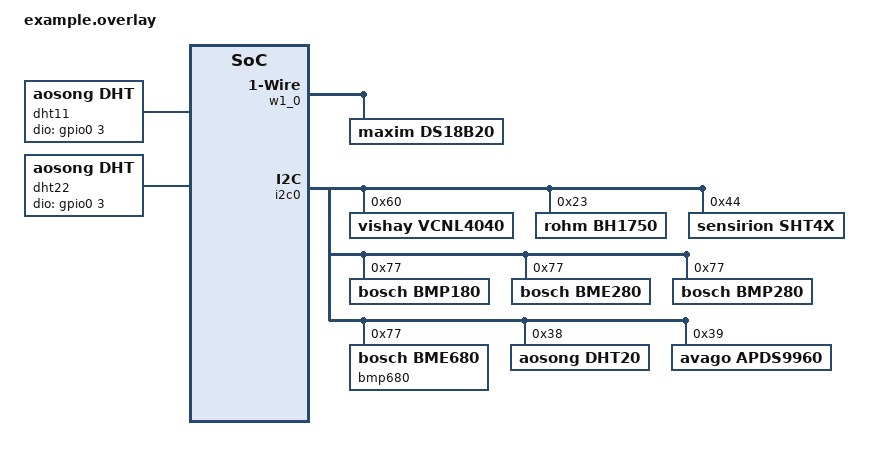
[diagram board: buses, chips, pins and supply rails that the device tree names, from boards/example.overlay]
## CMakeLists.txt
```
cmake_minimum_required(VERSION 3.20)
find_package(Zephyr REQUIRED HINTS $ENV{ZEPHYR_BASE})

project(app LANGUAGES C)

target_sources(app PRIVATE src/http.c src/net.c src/shell.c src/sensor.c
                           src/storage.c src/timer.c)
```

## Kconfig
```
source "Kconfig.zephyr"

menu "Application Options"

module = APP
module-str = App
source "subsys/logging/Kconfig.template.log_config"

config APP_SENSOR_INTERVAL
	int "Environment sensor read interval"
	default 5
	help
	  The interval between subsequent reads from the environment
	  sensor (in minutes).

menu "Network Setup Options"

config APP_INITIAL_SSID
	string "Initial Wi-Fi SSID"
	default "test"
	help
	  The initial Wi-Fi SSID the app will attempt to connect to.

config APP_INITIAL_PASS
	string "Initial Wi-Fi password"
	default "test1234"
	help
	  The initial Wi-Fi password the app will attempt to connect to.

config APP_NETWORK_TIMEOUT
	int "Network timeout"
	default 30
	help
	  Maximum wait time for connecting to Wi-Fi network (in seconds).

config APP_NETWORK_RETRY_DELAY
	int "Retry delay"
	default 1
	help
	  Initial delay between subsequent retries of network operations
	  (in minutes).

config APP_NETWORK_RETRY_DELAY_MAX
	int "Max retry delay"
	default 30
	help
	  Maximum delay between subsequent retries of network operations
	  (in minutes).

config APP_SERVER_IP
	string "Server address"
	default "192.168.2.5"
	help
	  IPv4 address of the sensor server.

config APP_SERVER_PORT
	int "Server port"
	default 8000
	help
	  Network port of the sensor server.

config APP_MAX_JSON_PAYLOAD
	int "Max json message size"
	default 512
	help
	  Maximum size of the http json payload.

endmenu # Network Setup Options

menu "Sensor Thread Options"

config APP_SENSOR_STACK_SIZE
	int "Thread stack size"
	default 1024
	help
	  Sensor thread stack size (in bytes).

config APP_SENSOR_THREAD_PRIORITY
	int "Thread priority"
	default 8
	help
	  Sensor thread priority.

endmenu # Sensor Thread Options

menu "Network Thread Options"

config APP_NET_STACK_SIZE
	int "Thread stack size"
	default 16384
	help
	  Network thread stack size (in bytes).

config APP_NET_THREAD_PRIORITY
	int "Thread priority"
	default 9
	help
	  Network thread priority.

endmenu # Network Thread Options

endmenu # Application Options
```

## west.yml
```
manifest:
  remotes:
    - name: zephyrproject-rtos
      url-base: https://github.com/zephyrproject-rtos

  projects:
    - name: zephyr
      remote: zephyrproject-rtos
      revision: v4.3.0
      import:
        name-allowlist:
          - hal_espressif
          - mbedtls
```

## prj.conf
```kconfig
CONFIG_COMPILER_WARNINGS_AS_ERRORS=y
CONFIG_STD_C23=y
CONFIG_INIT_STACKS=y
# CONFIG_BOOT_BANNER is not set

CONFIG_GPIO=y
CONFIG_W1=y
CONFIG_SERIAL=y
CONFIG_CONSOLE=y
CONFIG_UART_CONSOLE=y

CONFIG_SHELL=y
CONFIG_SHELL_MINIMAL=y
CONFIG_SHELL_PROMPT_UART="$ "

CONFIG_HWINFO=y

CONFIG_LOG=y

CONFIG_ZBUS=y

CONFIG_FLASH=y
CONFIG_FLASH_MAP=y
CONFIG_MPU_ALLOW_FLASH_WRITE=y
CONFIG_NVS=y
CONFIG_NVS_DATA_CRC=y
CONFIG_NVS_LOG_LEVEL_WRN=y

CONFIG_SENSOR=y
CONFIG_SENSOR_ASYNC_API=y

CONFIG_NETWORKING=y
CONFIG_NET_L2_ETHERNET=y
CONFIG_NET_L2_WIFI_MGMT=y
CONFIG_NET_DEFAULT_IF_WIFI=y
CONFIG_NET_HOSTNAME_ENABLE=y
CONFIG_NET_HOSTNAME_UNIQUE=y
CONFIG_NET_RX_STACK_SIZE=2048
CONFIG_NET_TX_STACK_SIZE=2048
CONFIG_NET_PKT_RX_COUNT=10
CONFIG_NET_PKT_TX_COUNT=10
CONFIG_NET_BUF_RX_COUNT=20
CONFIG_NET_BUF_TX_COUNT=20
CONFIG_NET_SOCKETS=y
CONFIG_NET_SOCKETS_OFFLOAD=y
CONFIG_NET_CONNECTION_MANAGER=y

CONFIG_ETH_DRIVER=n

CONFIG_WIFI=y
CONFIG_WIFI_NM=y
CONFIG_WIFI_LOG_LEVEL_WRN=y

CONFIG_NET_IPV4=y
CONFIG_NET_IPV6=n
CONFIG_NET_TCP=y
CONFIG_NET_UDP=y
CONFIG_NET_DHCPV4=y

CONFIG_HTTP_CLIENT=y

CONFIG_JSON_LIBRARY=y

CONFIG_MBEDTLS=y
CONFIG_MBEDTLS_SHA1=y
```

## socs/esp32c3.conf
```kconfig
CONFIG_ESP32_WIFI_STA_AUTO_DHCPV4=y
CONFIG_ESP32_WIFI_IRAM_OPT=y
CONFIG_ESP32_WIFI_RX_IRAM_OPT=y
```

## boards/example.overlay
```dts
// maxim,ds18b20 (w1)
&w1_0 {
	ds18b20: ds18b20 {
		compatible = "maxim,ds18b20";
		family-code = <0x28>;
		resolution = <12>;
		status = "okay";
	};
};

// vishay,vcnl4040 (i2c)
&i2c0 {
	vcnl4040: vcnl4040@60 {
		compatible = "vishay,vcnl4040";
		reg = <0x60>;
		status = "okay";
	};
};

// rohm,bh1750 (i2c)
&i2c0 {
	bh1750: bh1750@23 {
		compatible = "rohm,bh1750";
		reg = <0x23>;
		status = "okay";
	};
};

// sensirion,sht4x (i2c)
&i2c0 {
	sht4x: sht4x@44 {
		compatible = "sensirion,sht4x";
		reg = <0x44>;
		repeatability = <2>;
		status = "okay";
	};
}

// aosong,dht11 (gpio)
/ {
	dht11: dht11 {
		compatible = "aosong,dht";
		// GPIO number is the second value
		dio-gpios = <&gpio0 3 GPIO_PULL_UP>;
		status = "okay";
	};
};

// aosong,dht22 (gpio)
/ {
	dht22: dht22 {
		compatible = "aosong,dht";
		dht22;
		// GPIO number is the second value
		dio-gpios = <&gpio0 3 GPIO_PULL_UP>;
		status = "okay";
	};
};

// bosch,bmp180 (i2c)
&i2c0 {
	bmp180: bmp180@0x77 {
		compatible = "bosch,bmp180";
		osr-press = <1>;
		reg = <0x77>;
		status = "okay";
	};
};

// bosch,bme280 (i2c)
&i2c0 {
	bme280: bme280@0x77 {
		compatible = "bosch,bme280";
		reg = <0x77>;
		status = "okay";
	};
};

// bosch,bmp280 (i2c)
&i2c0 {
	bmp280: bmp280@0x77 {
		compatible = "bosch,bmp280", "bosch,bme280";
		reg = <0x77>;
		status = "okay";
	};
};

// bosch,bme680 (i2c)
&i2c0 {
	bmp680: bme680@0x77 {
		compatible = "bosch,bme680";
		reg = <0x77>;
		status = "okay";
	};
};

// aosong,dht20 (i2c)
&i2c0 {
	dht20: dht20@0x38 {
		compatible = "aosong,dht20";
		reg = <0x38>;
		status = "okay";
	};
};

// avago,apds9960 (i2c)
&i2c0 {
	apds9960: apds9960@39 {
		compatible = "avago,apds9960";
		reg = <0x39>;
		status = "okay";
	};
};
```

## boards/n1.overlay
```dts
/ {
	zephyr,user {
		env-sensors = <&ds18b20>;
	};
};

&w1_0 {
	ds18b20: ds18b20 {
		compatible = "maxim,ds18b20";
		family-code = <0x28>;
		resolution = <12>;
		status = "okay";
	};
};
```

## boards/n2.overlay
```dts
#include <zephyr/dt-bindings/gpio/gpio.h>

/ {
	zephyr,user {
		env-sensors = <&bh1750 &sht4x>;
	};

	sensor_enable: gpio-switch-d10 {
		compatible = "regulator-fixed";

		regulator-name = "sensor_enable";
		regulator-min-microvolt = <3300000>;
		regulator-max-microvolt = <3300000>;

		enable-gpios = <&gpio0 10 GPIO_ACTIVE_HIGH>;
		status = "okay";
	};
};

&i2c0 {
	status = "okay";

	bh1750: bh1750@23 {
		compatible = "rohm,bh1750";
		reg = <0x23>;
		vin-supply = <&sensor_enable>;
		status = "okay";
	};

	sht4x: sht4x@44 {
		compatible = "sensirion,sht4x";
		reg = <0x44>;
		repeatability = <2>;
		vin-supply = <&sensor_enable>;
		status = "okay";
	};
};
```

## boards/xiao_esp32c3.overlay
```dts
#include <zephyr/dt-bindings/gpio/gpio.h>

/ {
	w1_0: w1_gpio4 {
		compatible = "zephyr,w1-gpio";
		gpios = <&gpio0 4 (GPIO_ACTIVE_HIGH | GPIO_OPEN_DRAIN | GPIO_PULL_UP)>;
		status = "okay";
	};

	w1_1: w1_gpio5 {
		compatible = "zephyr,w1-gpio";
		gpios = <&gpio0 5 (GPIO_ACTIVE_HIGH | GPIO_OPEN_DRAIN | GPIO_PULL_UP)>;
		status = "okay";
	};
};

&flash0 {
	status = "okay";
};

&wifi {
	status = "okay";
};

&i2c0 {
	status = "okay";
};

&spi2 {
	status = "okay";
};

&twai {
	status = "disabled";
};

&uart0 {
	status = "disabled";
};

&esp32_bt_hci {
	status = "disabled";
};
```

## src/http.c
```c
#include "sensor_map.h"
#include "timer.h"
#include "net.h"
#include "zbus.h"

#include <stddef.h>
#include <stdio.h>
#include <stdint.h>
#include <string.h>

#include <zephyr/init.h>
#include <zephyr/zbus/zbus.h>
#include <zephyr/toolchain.h>
#include <zephyr/kernel.h>
#include <zephyr/net/http/client.h>
#include <zephyr/net/http/method.h>
#include <zephyr/net/http/status.h>
#include <zephyr/sys/clock.h>
#include <zephyr/logging/log.h>
#include <zephyr/devicetree.h>
#include <zephyr/drivers/hwinfo.h>
#include <zephyr/data/json.h>
#include <zephyr/sys/util.h>
#include <zephyr/sys/util_macro.h>

#include <mbedtls/sha1.h>
#include <sys/errno.h>

LOG_MODULE_REGISTER(http, CONFIG_APP_LOG_LEVEL);

#define NET_ID_INIT_PRIORITY 99

#define NET_TIMEOUT_SEC (CONFIG_APP_NETWORK_TIMEOUT * MSEC_PER_SEC)

#define APP_HTTP_AUTHORIZE_URL    "/devices/register"
#define APP_HTTP_POST_READING_URL "/devices/send_data"
#define APP_HTTP_PROTOCOL         "HTTP/1.1"
#define APP_HTTP_DEV_ID_HEADER    "X-SENSOR-ID"

#define ZEPHYR_USER_NODE DT_PATH(zephyr_user)
#define SENSOR_COUNT     DT_PROP_LEN(ZEPHYR_USER_NODE, env_sensors)

#define DT_NODE_FULL_NAME_BY_IDX(node_id, prop, idx)                                               \
	DT_NODE_FULL_NAME(DT_PHANDLE_BY_IDX(node_id, prop, idx))

#define SHA1_BYTES 20
#define SHA1_HEX   (SHA1_BYTES * 2)

static char net_id[SHA1_HEX + 1] = {0};
static char net_id_header[SHA1_HEX + sizeof(APP_HTTP_DEV_ID_HEADER) + 4] = {0};

static uint8_t recv_buf[128];
static char json_buf[CONFIG_APP_MAX_JSON_PAYLOAD] = {0};

static K_SEM_DEFINE(http_done, 0, 1);

static bool authorized = false;

const static char *sensors[] = {
	DT_FOREACH_PROP_ELEM_SEP(ZEPHYR_USER_NODE, env_sensors, DT_NODE_FULL_NAME_BY_IDX, (,)) };

static struct json_obj_descr sensor_reading_descr[] = {
	JSON_OBJ_DESCR_PRIM(struct sensor_reading, sensor, JSON_TOK_STRING),
	JSON_OBJ_DESCR_PRIM(struct sensor_reading, type, JSON_TOK_STRING),
	JSON_OBJ_DESCR_PRIM(struct sensor_reading, value, JSON_TOK_NUMBER),
	JSON_OBJ_DESCR_PRIM(struct sensor_reading, shift, JSON_TOK_NUMBER),
};

static struct json_obj_descr sensor_reading_arr[] = {
	JSON_OBJ_DESCR_OBJ_ARRAY(struct device_sensor_msg, readings, SENSOR_READINGS_MAX, count,
				 sensor_reading_descr, ARRAY_SIZE(sensor_reading_descr)),
};

static int net_id_init()
{
	int rc;
	uint8_t dev_id[16];
	uint8_t sha1_bytes[SHA1_BYTES];
	mbedtls_sha1_context sha1_ctx;

	rc = hwinfo_get_device_id(dev_id, sizeof(dev_id));
	if (rc < 0) {
		LOG_ERR("failed to get device id (err %d)", rc);
		return rc;
	}

	mbedtls_sha1_init(&sha1_ctx);

	rc = mbedtls_sha1_starts(&sha1_ctx);
	if (rc) {
		LOG_ERR("failed to start network id calculation (err %d)", rc);
		return rc;
	}

	rc = mbedtls_sha1_update(&sha1_ctx, dev_id, sizeof(dev_id));
	if (rc) {
		LOG_ERR("failed to add device id to network id (err %d)", rc);
		return rc;
	}

	ARRAY_FOR_EACH(sensors, idx) {
		rc = mbedtls_sha1_update(&sha1_ctx, sensors[idx], strlen(sensors[idx]));
		if (rc) {
			LOG_ERR("failed to add sensor '%s' to network id (err %d)", sensors[idx],
				rc);
			return rc;
		}
	}

	rc = mbedtls_sha1_finish(&sha1_ctx, sha1_bytes);
	if (rc) {
		LOG_ERR("failed to calculate network id (err %d)", rc);
		return rc;
	}

	mbedtls_sha1_free(&sha1_ctx);

	if (bin2hex(sha1_bytes, sizeof(sha1_bytes), net_id, sizeof(net_id)) != SHA1_HEX) {
		LOG_ERR("failed to set network id");
		return -ENOSPC;
	}

	snprintf(net_id_header, sizeof(net_id_header), "%s: %s\r\n", APP_HTTP_DEV_ID_HEADER,
		 net_id);

	LOG_INF("device id: %s", net_id);

	return 0;
}

SYS_INIT(net_id_init, POST_KERNEL, NET_ID_INIT_PRIORITY);

ZBUS_SUBSCRIBER_DEFINE(http_subscriber, 1);
ZBUS_CHAN_ADD_OBS(environment_chan, http_subscriber, 0);

static int authorize_response_cb(struct http_response *rsp, enum http_final_call final_data,
				 void *user_data)
{
	if (final_data != HTTP_DATA_FINAL) {
		return 0;
	}

	switch (rsp->http_status_code) {
	case HTTP_200_OK:
		authorized = true;
		sensor_timer_start();
		LOG_INF("device authorized");
		break;
	case HTTP_401_UNAUTHORIZED:
		sensor_timer_stop();
		LOG_INF("device not authorized");
		break;
	default:
		LOG_WRN("unexpected response status %d", rsp->http_status_code);
		break;
	}

	k_sem_give(&http_done);
	return 0;
}

static int authorize_device()
{
	int rc;
	int sock;
	bool success;
	int delay = CONFIG_APP_NETWORK_RETRY_DELAY;

	const static char *headers[] = {"Transfer-Encoding: chunked\r\n", NULL};

	struct http_request req = {
		.method = HTTP_POST,
		.url = APP_HTTP_AUTHORIZE_URL,
		.protocol = APP_HTTP_PROTOCOL,
		.header_fields = headers,
		.content_type_value = "text/plain",
		.payload = net_id,
		.payload_len = strlen(net_id),
		.recv_buf = recv_buf,
		.recv_buf_len = sizeof(recv_buf),
		.response = authorize_response_cb,
	};

	for (;;) {
		sock = server_connect();
		if (sock < 0) {
			goto _err_delay;
		}

		rc = http_client_req(sock, &req, NET_TIMEOUT_SEC, &success);
		if (rc < 0) {
			LOG_ERR("authorize request failed (err %d)", rc);
			goto _err_delay;
		}

		k_sem_take(&http_done, K_FOREVER);
		server_disconnect(sock);

		if (authorized) {
			return 0;
		}

_err_delay:
		LOG_WRN("next attempt in %d minute(s)", delay);
		server_disconnect(sock);
		k_sleep(K_MINUTES(delay));

		delay = MIN(2 * delay, CONFIG_APP_NETWORK_RETRY_DELAY_MAX);
	}
}

static int publish_response_cb(struct http_response *rsp, enum http_final_call final_data,
			       void *user_data)
{
	if (final_data != HTTP_DATA_FINAL) {
		return 0;
	}

	switch (rsp->http_status_code) {
	case HTTP_200_OK:
		LOG_INF("data published");
		break;
	case HTTP_401_UNAUTHORIZED:
		sensor_timer_stop();
		authorized = false;
		LOG_INF("device unauthorized");
		break;
	default:
		LOG_WRN("unexpected response status %d", rsp->http_status_code);
		break;
	}

	k_sem_give(&http_done);
	return 0;
}

static int sensor_server_push()
{
	int rc;
	int sock;
	bool success;

	const static char *headers[] = {"Transfer-Encoding: chunked\r\n", net_id_header, NULL};

	struct http_request req = {
		.method = HTTP_POST,
		.url = APP_HTTP_POST_READING_URL,
		.protocol = APP_HTTP_PROTOCOL,
		.header_fields = headers,
		.content_type_value = "application/json",
		.payload = json_buf,
		.payload_len = strlen(json_buf),
		.recv_buf = recv_buf,
		.recv_buf_len = sizeof(recv_buf),
		.response = publish_response_cb,
	};

	sock = server_connect();
	if (sock < 0) {
		return sock;
	}

	rc = http_client_req(sock, &req, NET_TIMEOUT_SEC, &success);
	if (rc < 0) {
		LOG_ERR("publish request failed (err %d)", rc);
		goto _err_disc;
	}

	k_sem_take(&http_done, K_FOREVER);

_err_disc:
	server_disconnect(sock);
	return rc;
}

static int sensor_publish()
{
	const struct zbus_channel *chan;
	struct device_sensor_msg msg;
	int rc;

	rc = zbus_sub_wait(&http_subscriber, &chan, K_FOREVER);
	if (rc) {
		LOG_ERR("waiting for channel notification failed (err %d)", rc);
		return rc;
	}

	rc = zbus_chan_read(chan, &msg, K_NO_WAIT);
	if (rc) {
		LOG_ERR("failed to read channel message (err %d)", rc);
		return rc;
	}

	rc = k_sem_take(msg.sem, K_SECONDS(1));
	if (rc) {
		LOG_ERR("failed to lock sensor buffer (err %d)", rc);
		return rc;
	}

	rc = json_arr_encode_buf(sensor_reading_arr, &msg, json_buf, ARRAY_SIZE(json_buf));

	k_sem_give(msg.sem);

	if (rc) {
		LOG_ERR("failed to encode json message (err %d)", rc);
		return rc;
	}

	rc = sensor_server_push();

	return rc;
}

static void http_thrd(void *a1, void *a2, void *a3)
{
	LOG_INF("network thread ready");

	for (;;) {
		if (!authorized) {
			authorize_device();
			k_sleep(K_SECONDS(1));
		}
		sensor_publish();
		k_sleep(K_SECONDS(1));
	}
}

K_THREAD_DEFINE(http_thrd_id, CONFIG_APP_NET_STACK_SIZE, http_thrd, NULL, NULL, NULL,
		CONFIG_APP_NET_THREAD_PRIORITY, 0, 1500);
```

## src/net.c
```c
#include "net.h"
#include "storage.h"
#include "zephyr/net/net_event.h"

#include <errno.h>
#include <stdint.h>
#include <stddef.h>

#include <zephyr/kernel.h>
#include <zephyr/logging/log.h>
#include <zephyr/net/conn_mgr_connectivity.h>
#include <zephyr/net/conn_mgr_monitor.h>
#include <zephyr/net/net_if.h>
#include <zephyr/net/net_ip.h>
#include <zephyr/net/net_mgmt.h>
#include <zephyr/net/socket.h>
#include <zephyr/net/wifi.h>
#include <zephyr/net/wifi_mgmt.h>
#include <zephyr/sys/clock.h>
#include <zephyr/toolchain.h>

LOG_MODULE_REGISTER(net, CONFIG_APP_LOG_LEVEL);

static K_SEM_DEFINE(network_connected, 0, 1);

static void l4_event_handler(uint64_t mgmt_event, struct net_if *iface, void *info,
			     size_t info_length, void *user_data)
{
	ARG_UNUSED(iface);
	ARG_UNUSED(info_length);
	ARG_UNUSED(user_data);

	switch (mgmt_event) {
	case NET_EVENT_L4_CONNECTED:
		LOG_INF("network connected");
		k_sem_give(&network_connected);
		break;
	case NET_EVENT_L4_DISCONNECTED:
		LOG_INF("network disconnected");
		k_sem_take(&network_connected, K_NO_WAIT);
		break;
	}
}

static NET_MGMT_REGISTER_EVENT_HANDLER(net_connection_mgmt_handler,
				       NET_EVENT_L4_CONNECTED | NET_EVENT_L4_DISCONNECTED,
				       l4_event_handler, NULL);

static void net_disconnect()
{
	struct net_if *iface = net_if_get_default();

	net_mgmt(NET_REQUEST_WIFI_DISCONNECT, iface, NULL, 0);
}

static int net_connect()
{
	int rc;
	char ssid[STORAGE_MAX_SSID_SIZE] = {0};
	char pass[STORAGE_MAX_PASS_SIZE] = {0};
	struct wifi_connect_req_params params = {0};
	struct net_if *iface = net_if_get_default();

	rc = storage_ssid_get(ssid, STORAGE_MAX_SSID_SIZE - 1);
	if (rc < 0) {
		LOG_ERR("failed to load wifi SSID (err %d)", rc);
		return rc;
	}

	rc = storage_pass_get(pass, STORAGE_MAX_PASS_SIZE - 1);
	if (rc < 0) {
		LOG_ERR("failed to load wifi password (err %d)", rc);
		return rc;
	}

	params.ssid = ssid;
	params.ssid_length = strlen(params.ssid);
	params.psk = pass;
	params.psk_length = strlen(params.psk);
	params.channel = WIFI_CHANNEL_ANY;
	params.security = WIFI_SECURITY_TYPE_PSK;
	params.band = WIFI_FREQ_BAND_2_4_GHZ;
	params.mfp = WIFI_MFP_OPTIONAL;

	LOG_DBG("Connecting to network %s", ssid);

	rc = net_mgmt(NET_REQUEST_WIFI_CONNECT, iface, &params,
		      sizeof(struct wifi_connect_req_params));
	if (rc) {
		LOG_ERR("failed to request network connection (err %d)", rc);
		return rc;
	}

	rc = k_sem_take(&network_connected, K_SECONDS(CONFIG_APP_NETWORK_TIMEOUT));
	if (rc) {
		LOG_ERR("Failed to connect to network (err %d)", rc);
		net_disconnect();
	}

	return rc;
}

int server_connect()
{
	int rc;
	int sock;
	struct sockaddr_in sa;

	rc = net_connect();
	if (rc) {
		goto _err_net_disconnect;
	}
	k_sleep(K_SECONDS(1));

	sa = (struct sockaddr_in){
		.sin_family = AF_INET,
		.sin_port = htons(CONFIG_APP_SERVER_PORT),
	};

	rc = zsock_inet_pton(AF_INET, CONFIG_APP_SERVER_IP, &sa.sin_addr);
	if (rc < 0) {
		LOG_ERR("invalid ip address format: '%s'", CONFIG_APP_SERVER_IP);
	}

	rc = zsock_socket(AF_INET, SOCK_STREAM, IPPROTO_TCP);
	if (rc < 0) {
		LOG_ERR("failed to create socket (err %d)", rc);
		goto _err_net_disconnect;
	}
	sock = rc;

	rc = zsock_connect(sock, (struct sockaddr *)&sa, sizeof(sa));
	if (rc == 0) {
		LOG_DBG("server connected");
		return sock;
	}

	zsock_close(sock);

	LOG_ERR("server connection failed (err %d)", -errno);
_err_net_disconnect:
	net_disconnect();
	return rc;
}

void server_disconnect(int sock)
{
	zsock_close(sock);
	LOG_DBG("server disconnected");

	net_disconnect();
}
```

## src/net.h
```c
#ifndef _NET_H
#define _NET_H

int server_connect();
void server_disconnect(int sock);

#endif // _NET_H
```

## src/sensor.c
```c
#include "zbus.h"
#include "sensor_map.h"

#include <stdint.h>

#include <zephyr/device.h>
#include <zephyr/kernel.h>
#include <zephyr/devicetree.h>
#include <zephyr/drivers/sensor.h>
#include <zephyr/drivers/sensor_data_types.h>
#include <zephyr/logging/log.h>
#include <zephyr/rtio/rtio.h>
#include <zephyr/sys/util.h>
#include <zephyr/sys/util_macro.h>
#include <zephyr/zbus/zbus.h>

LOG_MODULE_REGISTER(sensor, CONFIG_APP_LOG_LEVEL);

#define ZEPHYR_USER_NODE DT_PATH(zephyr_user)
#define SENSOR_COUNT     DT_PROP_LEN(ZEPHYR_USER_NODE, env_sensors)

#define SENSOR_IODEV_SYM(idx)      CONCAT(_sens_iodev_, idx)
#define SENSOR_IODEV_PTR(idx, ...) &SENSOR_IODEV_SYM(idx)

/* clang-format off */
#define SENSOR_IODEV_DEFINE(node_id, prop, idx)		\
		SENSOR_DT_READ_IODEV(						\
			SENSOR_IODEV_SYM(idx),					\
			DT_PHANDLE_BY_IDX(node_id, prop, idx),	\
			SENSOR_CHAN_MAP(						\
				DT_PHANDLE_BY_IDX(node_id, prop, idx)))
/* clang-format on */

DT_FOREACH_PROP_ELEM_SEP(ZEPHYR_USER_NODE, env_sensors, SENSOR_IODEV_DEFINE, (;));

RTIO_DEFINE_WITH_MEMPOOL(sensor_ctx, SENSOR_COUNT, SENSOR_COUNT, SENSOR_COUNT, 64, sizeof(void *));

static struct rtio_iodev *iodevs[SENSOR_COUNT] = {LISTIFY(SENSOR_COUNT, SENSOR_IODEV_PTR, (,))};

K_SEM_DEFINE(reading_sem, 1, 1);

static struct device_sensor_msg zbus_msg = {
	.readings = {},
	.count = 0,
	.sem = &reading_sem,
};

ZBUS_SUBSCRIBER_DEFINE(env_subscriber, 1);
ZBUS_CHAN_ADD_OBS(timer_chan, env_subscriber, 0);

/* clang-format off */
ZBUS_CHAN_DEFINE(environment_chan,	/* Name */
	 struct device_sensor_msg,		/* Message */
	 NULL,							/* Validator */
	 NULL,					 		/* User data */
	 ZBUS_OBSERVERS_EMPTY,	 		/* Observers */
	 ZBUS_MSG_INIT(0)		 		/* Initial value */
);
/* clang-format on */

static const char *chan_type_str(int16_t chan)
{
	switch (chan) {
	case SENSOR_CHAN_DIE_TEMP:
	case SENSOR_CHAN_AMBIENT_TEMP:
		return "temp";
	case SENSOR_CHAN_PRESS:
		return "press";
	case SENSOR_CHAN_PROX:
		return "prox";
	case SENSOR_CHAN_HUMIDITY:
		return "humid";
	case SENSOR_CHAN_LIGHT:
	case SENSOR_CHAN_AMBIENT_LIGHT:
		return "light";
	case SENSOR_CHAN_IR:
		return "ir";
	case SENSOR_CHAN_RED:
		return "red";
	case SENSOR_CHAN_GREEN:
		return "green";
	case SENSOR_CHAN_BLUE:
		return "blue";
	case SENSOR_CHAN_ALTITUDE:
		return "alt";
	case SENSOR_CHAN_PM_1_0:
		return "pm1.0";
	case SENSOR_CHAN_PM_2_5:
		return "pm2.5";
	case SENSOR_CHAN_PM_10:
		return "pm10";
	case SENSOR_CHAN_DISTANCE:
		return "dist";
	case SENSOR_CHAN_CO2:
		return "co2";
	case SENSOR_CHAN_O2:
		return "o2";
	case SENSOR_CHAN_GAS_RES:
		return "gas_res";
	case SENSOR_CHAN_VOC:
		return "voc";
	case SENSOR_CHAN_VOLTAGE:
		return "volt";
	default:
		return "unknown";
	}
}

static void sensor_init()
{
	const struct device *dev;
	ARRAY_FOR_EACH(iodevs, idx) {
		dev = ((struct sensor_read_config *)(iodevs[idx]->data))->sensor;

		if (!device_is_ready(dev)) {
			LOG_ERR("%s: device not ready", dev->name);
			continue;
		}
	}

	LOG_INF("sensor thread ready");
}

static void sensor_loop()
{
	const struct sensor_decoder_api *decoder;
	const struct zbus_channel *chan;
	const char *chan_type;
	struct sensor_q31_data data;
	struct sensor_read_config *cfg;
	struct rtio_cqe *cqe;
	uint8_t *buf;
	uint32_t buf_len;
	uint32_t fit;
	int rc;

	for (;;) {
		rc = zbus_sub_wait(&env_subscriber, &chan, K_FOREVER);
		if (rc) {
			LOG_WRN("waiting for channel notification failed (err %d)", rc);
			continue;
		}

		ARRAY_FOR_EACH(iodevs, idx) {
			cfg = (struct sensor_read_config *)(iodevs[idx]->data);

			rc = sensor_read_async_mempool(iodevs[idx], &sensor_ctx, iodevs[idx]);
			if (rc) {
				LOG_WRN("%s: failed to init sensor read (err %d)",
					cfg->sensor->name, rc);
				continue;
			}
		}

		rc = k_sem_take(&reading_sem, K_FOREVER);
		if (rc) {
			LOG_ERR("failed to lock readings message (err %d)", rc);
			return;
		}

		zbus_msg.count = 0;
		ARRAY_FOR_EACH(iodevs, _) {
			cqe = rtio_cqe_consume_block(&sensor_ctx);
			if (cqe->result) {
				LOG_WRN("%s: async read failed (err %d)", cfg->sensor->name,
					cqe->result);
				rtio_cqe_release(&sensor_ctx, cqe);
				continue;
			}

			cfg = (struct sensor_read_config *)((struct rtio_iodev *)cqe->userdata)
				      ->data;
			rtio_cqe_release(&sensor_ctx, cqe);

			rc = rtio_cqe_get_mempool_buffer(&sensor_ctx, cqe, &buf, &buf_len);
			if (rc) {
				LOG_WRN("%s: failed to get memory buffer (err %d)",
					cfg->sensor->name, rc);
				continue;
			}

			rc = sensor_get_decoder(cfg->sensor, &decoder);
			if (rc) {
				LOG_WRN("%s: failed to get decoder (err %d)", cfg->sensor->name,
					rc);
				continue;
			}

			for (size_t i = 0; i < cfg->count; ++i) {
				fit = 0;
				decoder->decode(buf, cfg->channels[i], &fit, 1, &data);
				chan_type = chan_type_str(cfg->channels[i].chan_type);

				LOG_DBG("%s: %s = %s%d.%02d", cfg->sensor->name, chan_type,
					PRIq_arg(data.readings[0].value, 2, data.shift));

				zbus_msg.readings[zbus_msg.count++] = (struct sensor_reading){
					.sensor = cfg->sensor->name,
					.type = chan_type,
					.value = data.readings[0].value,
					.shift = data.shift,
				};
			}

			rtio_release_buffer(&sensor_ctx, buf, buf_len);
		}

		rc = zbus_chan_pub(&environment_chan, &zbus_msg, K_FOREVER);
		if (rc) {
			LOG_WRN("failed to publish environment data (err %d)", rc);
		}

		k_sem_give(&reading_sem);
	}
}

static void sensor_thrd(void *a1, void *a2, void *a3)
{
	sensor_init();
	sensor_loop();
}

K_THREAD_DEFINE(sensor_thrd_id, CONFIG_APP_SENSOR_STACK_SIZE, sensor_thrd, NULL, NULL, NULL,
		CONFIG_APP_SENSOR_THREAD_PRIORITY, 0, 1000);
```

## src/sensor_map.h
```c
#ifndef _SENSOR_MAP_H
#define _SENSOR_MAP_H

#include <zephyr/devicetree.h>
#include <zephyr/drivers/sensor.h>
#include <zephyr/sys/util.h>
#include <zephyr/sys/util_macro.h>

#define ZEPHYR_USER_NODE DT_PATH(zephyr_user)

#define SENSOR_CHAN_BY_COMPAT(phandle, compat, ...)                                                \
	COND_CODE_1(DT_NODE_HAS_COMPAT(phandle, compat), (__VA_ARGS__), ())

#define SENSOR_CHAN_MAP(phandle)                                                                   \
	SENSOR_CHAN_BY_COMPAT(phandle, rohm_bh1750, {SENSOR_CHAN_LIGHT, 0})                        \
	SENSOR_CHAN_BY_COMPAT(phandle, sensirion_sht4x, {SENSOR_CHAN_AMBIENT_TEMP, 0},             \
			      {SENSOR_CHAN_HUMIDITY, 0})                                           \
	SENSOR_CHAN_BY_COMPAT(phandle, maxim_ds18b20, {SENSOR_CHAN_AMBIENT_TEMP, 0})               \
	SENSOR_CHAN_BY_COMPAT(phandle, aosong_dht, {SENSOR_CHAN_AMBIENT_TEMP, 0},                  \
			      {SENSOR_CHAN_HUMIDITY, 0})                                           \
	SENSOR_CHAN_BY_COMPAT(phandle, aosong_dht20, {SENSOR_CHAN_AMBIENT_TEMP, 0},                \
			      {SENSOR_CHAN_HUMIDITY, 0})                                           \
	SENSOR_CHAN_BY_COMPAT(phandle, bosch_bmp180, {SENSOR_CHAN_PRESS, 0},                       \
			      {SENSOR_CHAN_DIE_TEMP, 0})                                           \
	SENSOR_CHAN_BY_COMPAT(phandle, bosch_bme280, {SENSOR_CHAN_AMBIENT_TEMP, 0},                \
			      {SENSOR_CHAN_PRESS, 0}, {SENSOR_CHAN_HUMIDITY, 0})                   \
	SENSOR_CHAN_BY_COMPAT(phandle, bosch_bmp280, {SENSOR_CHAN_AMBIENT_TEMP, 0},                \
			      {SENSOR_CHAN_PRESS, 0})                                              \
	SENSOR_CHAN_BY_COMPAT(phandle, bosch_bme680, {SENSOR_CHAN_AMBIENT_TEMP, 0},                \
			      {SENSOR_CHAN_PRESS, 0}, {SENSOR_CHAN_HUMIDITY, 0})                   \
	SENSOR_CHAN_BY_COMPAT(phandle, avago_apds9960, {SENSOR_CHAN_LIGHT, 0},                     \
			      {SENSOR_CHAN_RED, 0}, {SENSOR_CHAN_GREEN, 0},                        \
			      {SENSOR_CHAN_GAS_BLUE, 0}, {SENSOR_CHAN_PROX, 0})                    \
	SENSOR_CHAN_BY_COMPAT(phandle, vishay_vcnl4040, {SENSOR_CHAN_PROX, 0},                     \
			      {SENSOR_CHAN_LIGHT, 0})

#define SENSOR_CHAN_COUNT(node_id, prop, idx)                                                      \
	ARRAY_SIZE(((struct sensor_chan_spec[]){                                                   \
		SENSOR_CHAN_MAP(DT_PHANDLE_BY_IDX(node_id, prop, idx))}))

#define SENSOR_READINGS_MAX                                                                        \
	DT_FOREACH_PROP_ELEM_SEP(ZEPHYR_USER_NODE, env_sensors, SENSOR_CHAN_COUNT, (+))

#endif // _SENSOR_MAP_H
```

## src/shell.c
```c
#include "storage.h"

#include <stddef.h>
#include <string.h>

#include <zephyr/shell/shell.h>
#include <zephyr/sys/printk.h>

static int cmd_set_ssid(const struct shell *shell, size_t argc, char *argv[])
{
	const char *arg_ssid;
	int rc;

	if (argc != 2) {
		shell_error(shell, "Usage: set_ssid <ssid>");
		return -EINVAL;
	}
	arg_ssid = argv[1];

	rc = storage_ssid_set(arg_ssid, strlen(arg_ssid));
	if (rc < 0) {
		shell_error(shell, "bad ssid (err %d)", rc);
		return rc;
	}

	shell_print(shell, "ssid updated");
	return 0;
}

static int cmd_set_pass(const struct shell *shell, size_t argc, char *argv[])
{
	const char *arg_pass;
	int rc;

	if (argc != 2) {
		shell_error(shell, "Usage: set_pass <ssid>");
		return -EINVAL;
	}
	arg_pass = argv[1];

	rc = storage_pass_set(arg_pass, strlen(arg_pass));
	if (rc < 0) {
		shell_error(shell, "bad password (err %d)", rc);
		return rc;
	}

	shell_print(shell, "password updated");
	return 0;
}

SHELL_CMD_ARG_REGISTER(set_ssid, NULL, "Set WiFi SSID", cmd_set_ssid, 2, 0);
SHELL_CMD_ARG_REGISTER(set_pass, NULL, "Set WiFi password", cmd_set_pass, 2, 0);
```

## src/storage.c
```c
#include "storage.h"

#include <string.h>

#include <sys/errno.h>
#include <zephyr/drivers/flash.h>
#include <zephyr/fs/nvs.h>
#include <zephyr/init.h>
#include <zephyr/kernel.h>
#include <zephyr/logging/log.h>
#include <zephyr/storage/flash_map.h>
#include <zephyr/sys/clock.h>
#include <zephyr/toolchain.h>

LOG_MODULE_REGISTER(storage);

#define STORAGE_INIT_PRIORITY 99

#define STORAGE_PARTITION        storage_partition
#define STORAGE_PARTITION_DEVICE FIXED_PARTITION_DEVICE(STORAGE_PARTITION)
#define STORAGE_PARTITION_OFFSET FIXED_PARTITION_OFFSET(STORAGE_PARTITION)

BUILD_ASSERT(sizeof(CONFIG_APP_INITIAL_SSID) <= STORAGE_MAX_SSID_SIZE, "SSID max size exceeded");
BUILD_ASSERT(sizeof(CONFIG_APP_INITIAL_PASS) >= STORAGE_MIN_PASS_SIZE,
	     "Password needs to be at least 8 char long");
BUILD_ASSERT(sizeof(CONFIG_APP_INITIAL_PASS) <= STORAGE_MAX_PASS_SIZE,
	     "Password max size exceeded");

enum storage_id {
	STORAGE_ID_SSID,
	STORAGE_ID_PASS,
};

static struct nvs_fs fs;

ssize_t storage_ssid_get(char *data, size_t len)
{
	return nvs_read(&fs, STORAGE_ID_SSID, data, len);
}

ssize_t storage_ssid_set(const char *data, size_t len)
{
	if (len > STORAGE_MAX_SSID_SIZE) {
		return -EINVAL;
	}
	return nvs_write(&fs, STORAGE_ID_SSID, data, len);
}

ssize_t storage_pass_get(char *data, size_t len)
{
	return nvs_read(&fs, STORAGE_ID_PASS, data, len);
}

ssize_t storage_pass_set(const char *data, size_t len)
{
	if (len > STORAGE_MAX_PASS_SIZE) {
		return -EINVAL;
	}
	if (len < STORAGE_MIN_PASS_SIZE) {
		return -EINVAL;
	}
	return nvs_write(&fs, STORAGE_ID_PASS, data, len);
}

static void storage_setup_defaults()
{
	ssize_t rc;

	rc = storage_ssid_get(NULL, 0);
	if (rc == -ENOENT) {
		LOG_INF("%s: ssid entry enpty, setting default", fs.flash_device->name);

		rc = storage_ssid_set(CONFIG_APP_INITIAL_SSID, strlen(CONFIG_APP_INITIAL_SSID));
		if (rc != strlen(CONFIG_APP_INITIAL_SSID)) {
			LOG_ERR("%s: failed to set default ssid (err %zd)", fs.flash_device->name,
				rc);
		}
	}

	rc = storage_pass_get(NULL, 0);
	if (rc == -ENOENT) {
		LOG_INF("%s: pass entry enpty, setting default", fs.flash_device->name);

		rc = storage_pass_set(CONFIG_APP_INITIAL_PASS, strlen(CONFIG_APP_INITIAL_PASS));
		if (rc != strlen(CONFIG_APP_INITIAL_PASS)) {
			LOG_ERR("%s: failed to set default password (err %zd)",
				fs.flash_device->name, rc);
		}
	}
}

static int storage_init()
{
	int rc;
	struct flash_pages_info info;

	fs.flash_device = STORAGE_PARTITION_DEVICE;
	if (!device_is_ready(fs.flash_device)) {
		LOG_ERR("%s: device not ready", fs.flash_device->name);
		return -ENODEV;
	}

	fs.offset = STORAGE_PARTITION_OFFSET;
	rc = flash_get_page_info_by_offs(fs.flash_device, fs.offset, &info);
	if (rc) {
		LOG_ERR("%s: unable to get page info (err %d)", fs.flash_device->name, rc);
		return rc;
	}
	fs.sector_size = info.size;
	fs.sector_count = 3U;

	rc = nvs_mount(&fs);
	if (rc) {
		LOG_ERR("%s: failed to mount storage partition (err %d)", fs.flash_device->name,
			rc);
		return rc;
	}

	LOG_INF("mounted flash storage");

	storage_setup_defaults();

	return 0;
}

SYS_INIT(storage_init, POST_KERNEL, STORAGE_INIT_PRIORITY);
```

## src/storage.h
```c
#ifndef _STORAGE_H
#define _STORAGE_H

#include <stddef.h>
#include <sys/types.h>

#define STORAGE_MAX_SSID_SIZE 32
#define STORAGE_MIN_PASS_SIZE 8
#define STORAGE_MAX_PASS_SIZE 64

ssize_t storage_ssid_get(char *buf, size_t len);
ssize_t storage_ssid_set(const char *buf, size_t len);

ssize_t storage_pass_get(char *buf, size_t len);
ssize_t storage_pass_set(const char *buf, size_t len);

#endif // _STORAGE_H
```

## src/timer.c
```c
#include "timer.h"
#include "zbus.h"

#include <zephyr/kernel.h>
#include <zephyr/logging/log.h>
#include <zephyr/zbus/zbus.h>

LOG_MODULE_REGISTER(timer, CONFIG_APP_LOG_LEVEL);

/* clang-format off */
ZBUS_CHAN_DEFINE(timer_chan,	/* Name */
	 void*,						/* Message type */
	 NULL,						/* Validator */
	 NULL,						/* User data */
	 ZBUS_OBSERVERS_EMPTY,		/* Observers */
	 ZBUS_MSG_INIT(NULL)		/* Initial value */
);
/* clang-format on */

static void sensor_timer_expiry_cb(struct k_timer *timer)
{
	int rc;

	LOG_DBG("timer expired");

	rc = zbus_chan_pub(&timer_chan, timer, K_NO_WAIT);
	if (rc) {
		LOG_ERR("failed to publish timer event (err %d)", rc);
	}
}

static K_TIMER_DEFINE(sensor_timer, sensor_timer_expiry_cb, NULL);

void sensor_timer_start()
{
	LOG_INF("sensor timer started");
	k_timer_start(&sensor_timer, K_NO_WAIT, K_MINUTES(CONFIG_APP_SENSOR_INTERVAL));
};

void sensor_timer_stop()
{
	LOG_INF("sensor timer stopped");
	k_timer_stop(&sensor_timer);
}
```

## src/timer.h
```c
#ifndef _TIMER_H
#define _TIMER_H

void sensor_timer_start();
void sensor_timer_stop();

#endif // _TIMER_H
```

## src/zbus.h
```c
#ifndef _ZBUS_H
#define _ZBUS_H

#include "sensor_map.h"

#include <stdint.h>
#include <stddef.h>

#include <zephyr/kernel.h>
#include <zephyr/zbus/zbus.h>
#include <zephyr/dsp/types.h>

struct sensor_reading {
	const char *sensor;
	const char *type;
	q31_t value;
	int8_t shift;
};

struct device_sensor_msg {
	struct sensor_reading readings[SENSOR_READINGS_MAX];
	size_t count;
	struct k_sem *sem;
};

ZBUS_CHAN_DECLARE(timer_chan);
ZBUS_CHAN_DECLARE(environment_chan);

#endif /* _ZBUS_H */
```
